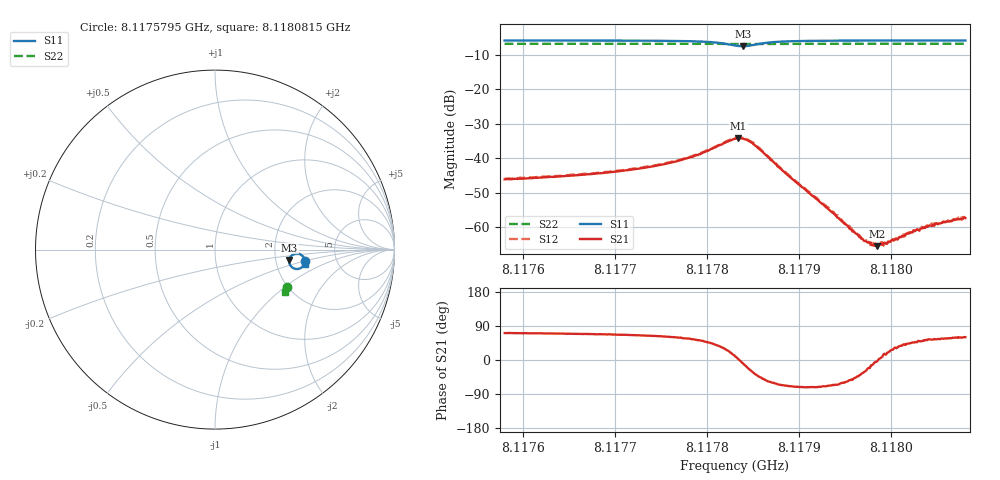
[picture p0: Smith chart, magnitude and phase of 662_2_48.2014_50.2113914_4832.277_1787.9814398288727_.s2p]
#  HZ  S  RI  R  50.00
! Rohde & Schwarz Vector Network Analyzer
! Rohde-Schwarz,ZNB20-2Port,1311601062101988,3.16
! Created: UTC 3/20/2024, 12:05:46 PM
! freq[Hz]  re:S11  im:S11  re:S21  im:S21  re:S12  im:S12  re:S22  im:S22
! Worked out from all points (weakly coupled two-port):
!   401 points, 8.1175795 GHz to 8.1180815 GHz, reference 50 ohm
!   highest |S21| = -34.28 dB at 8.1178343 GHz (marker M1); lowest = -65.6 dB at 8.1179849 GHz (marker M2)
!   lowest |S11| = -7.6 dB at 8.1178393 GHz (marker M3), VSWR 2.43, Z = 119 - j16.7 ohm
!   |S11| at or under -10 dB: nowhere
!   |S22| runs from -6.9 to -6.9 dB; largest |S21 - S12| = 0.00069
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8.11757952e9  0.5029 -0.0618  0.0016 0.00464  0.00164 0.00477  0.403 -0.2065
8.1176636e9  0.5006 -0.0717  0.00207 0.00533  0.00213 0.00547  0.4003 -0.212
8.11770626e9  0.4983 -0.0783  0.00257 0.00596  0.00264 0.00608  0.3989 -0.2147
8.11774768e9  0.494 -0.0871  0.00359 0.00702  0.00368 0.00715  0.3975 -0.2176
8.11778783e9  0.4812 -0.1005  0.00655 0.00879  0.0066 0.00893  0.3956 -0.2204
8.11781544e9  0.4504 -0.1078  0.013 0.00881  0.0132 0.00905  0.3934 -0.222
8.1178305e9  0.4196 -0.0876  0.0187 0.00328  0.0191 0.00351  0.3918 -0.2217
8.11783426e9  0.4146 -0.0758  0.0193 0.00077  0.0198 0.000902  0.3916 -0.2213
8.11783928e9  0.4137 -0.0579  0.0189 -0.00305  0.0194 -0.00292  0.3915 -0.2208
8.1178443e9  0.4205 -0.0411  0.0169 -0.00633  0.0174 -0.00642  0.392 -0.2205
8.11785183e9  0.4388 -0.0256  0.0124 -0.00913  0.013 -0.00923  0.3927 -0.2204
8.11787568e9  0.482 -0.0303  0.00369 -0.00713  0.00378 -0.00727  0.3939 -0.2226
8.11791458e9  0.4977 -0.0514  0.0009 -0.0027  0.000956 -0.00279  0.3931 -0.226
8.11793215e9  0.4995 -0.0573  0.000674 -0.00169  0.000688 -0.00179  0.3924 -0.2273
8.11796728e9  0.5006 -0.0657  0.00056 -0.000448  0.000528 -0.000469  0.3913 -0.2296
8.1179723e9  0.5007 -0.0667  0.000538 -0.000312  0.000576 -0.000294  0.3912 -0.23
8.11797983e9  0.5007 -0.068  0.000529 -0.00013  0.000547 -0.000129  0.3909 -0.2306
8.11798485e9  0.5006 -0.0689  0.000526 -4.32e-05  0.000536 -1.63e-05  0.3907 -0.2309
8.11799866e9  0.5007 -0.0713  0.000566 0.000229  0.000562 0.000248  0.3901 -0.2318
8.11802752e9  0.5006 -0.0754  0.000607 0.000662  0.000598 0.000672  0.3891 -0.2336
8.11804634e9  0.5004 -0.0777  0.000628 0.000863  0.000671 0.000858  0.3885 -0.2349
8.11808148e9  0.4999 -0.0818  0.000664 0.00117  0.000707 0.00123  0.3874 -0.2371
